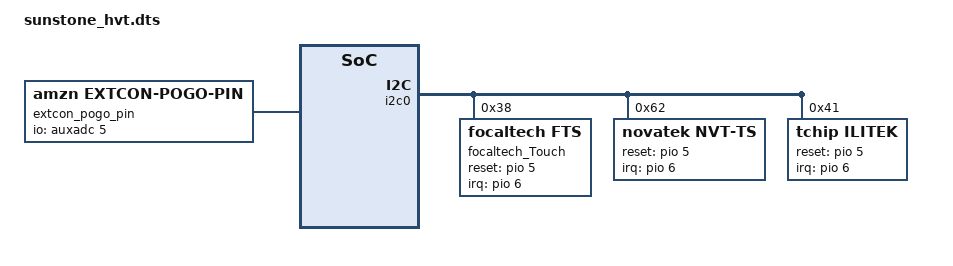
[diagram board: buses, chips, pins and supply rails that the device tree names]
/*
 * Copyright (C) 2022 Amazon.com
 *
 * This program is free software: you can redistribute it and/or modify
 * it under the terms of the GNU General Public License version 2 as
 * published by the Free Software Foundation.
 *
 * This program is distributed in the hope that it will be useful,
 * but WITHOUT ANY WARRANTY; without even the implied warranty of
 * MERCHANTABILITY or FITNESS FOR A PARTICULAR PURPOSE. See the
 * GNU General Public License for more details.
 *
 */

/dts-v1/;
/plugin/;

#define SUNSTONE_MOISTURE_DETECT
#include "sunstone.dtsi"

&chosen {
	version = "hvt";
};

&rt9467_chg {
	switch-en-gpio = <&pio 120 GPIO_ACTIVE_HIGH>;
	otg-en-gpio = <&pio 148 GPIO_ACTIVE_HIGH>;
};

&extcon_pogo_pin {
	pinctrl-names = "detect_disable", "detect_enable", "dock_disable";
	pinctrl-0 = <&pogo_extcon_detect_disable>;
	pinctrl-1 = <&pogo_extcon_detect_enable>;
	pinctrl-2 = <&pogo_extcon_dock_disable>;
};

&pio {
	pogo_extcon_dock_disable: pogo_extcon_dock_disable {

		detect_pin {
			pinmux = <PINMUX_GPIO118__FUNC_B_GPIO118>;
			output-high;
		};
	};

	mosit_pins_det_on: moist_det_on {

		pins_cmd_dat {
			pinmux = <PINMUX_GPIO35__FUNC_B_GPIO35>,
			         <PINMUX_GPIO36__FUNC_B_GPIO36>;
			output-high;
			bias-disable;
		};
	};

	mosit_pins_det_off: moist_det_off {

		pins_cmd_dat {
			pinmux = <PINMUX_GPIO35__FUNC_B_GPIO35>,
			         <PINMUX_GPIO36__FUNC_B_GPIO36>;
			output-low;
			bias-disable;
		};
	};
};

&mt6359_vbif28_reg {
	regulator-always-on;
};

&i2c0 {
	focaltech_Touch@38 {
		compatible = "focaltech,fts";
		reg = <0x38>;
		focaltech,max-touch-number = <10>;
		focaltech,display-coords = <0 0 1200 2000>;
		focaltech,key-number = <0>;
		focaltech,keys = <139 102 158>;
		focaltech,key-x-coords = <200 600 800>;
		focaltech,key-y-coords = <2000 2000 2000>;
		reset-gpios = <&pio 5 GPIO_ACTIVE_HIGH>;
		irq-gpios = <&pio 6 GPIO_ACTIVE_HIGH>;
	};

	novatek@62 {
		compatible = "novatek,NVT-ts";
		reg = <0x62>;
		reset-gpios = <&pio 5 GPIO_ACTIVE_HIGH>;
		irq-gpios = <&pio 6 GPIO_ACTIVE_HIGH>;
		novatek,pen-support = <0>;
		novatek,stylus-resol-double = <0>;
		novatek,trigger-type = <1>;
	};

	ilitek@41 {
		compatible = "tchip,ilitek";
		reg = <0x41>;
		status = "okay";
		reset-gpios = <&pio 5 GPIO_ACTIVE_HIGH>;
		irq-gpios = <&pio 6 GPIO_ACTIVE_HIGH>;
	};
};

&lk_charger {
	fast_charge_voltage = <3300000>;
	precharge_current = <300000>;
};

&ssusb1 {
	extcon = <&extcon_pogo_pin>;
};

&odm {
	extcon_pogo_pin: extcon_pogo_pin {
		compatible = "amzn,extcon-pogo-pin";
		extcon = <&hall_sensors>;
		work-interval = <200 15000 200>;
		moisture-threshold = <0 605>;
		keyboard-threshold = <606 770>;
		nothing-threshold = <810 990>;
		usb = <&ssusb1>;
		io-channels = <&auxadc 5>;
		io-channel-names = "pogo_extcon_adc_channel";
		pinctrl-names = "detect_disable", "detect_enable";
		pinctrl-0 = <&pogo_extcon_detect_disable>;
		pinctrl-1 = <&pogo_extcon_detect_enable>;
	};
};
